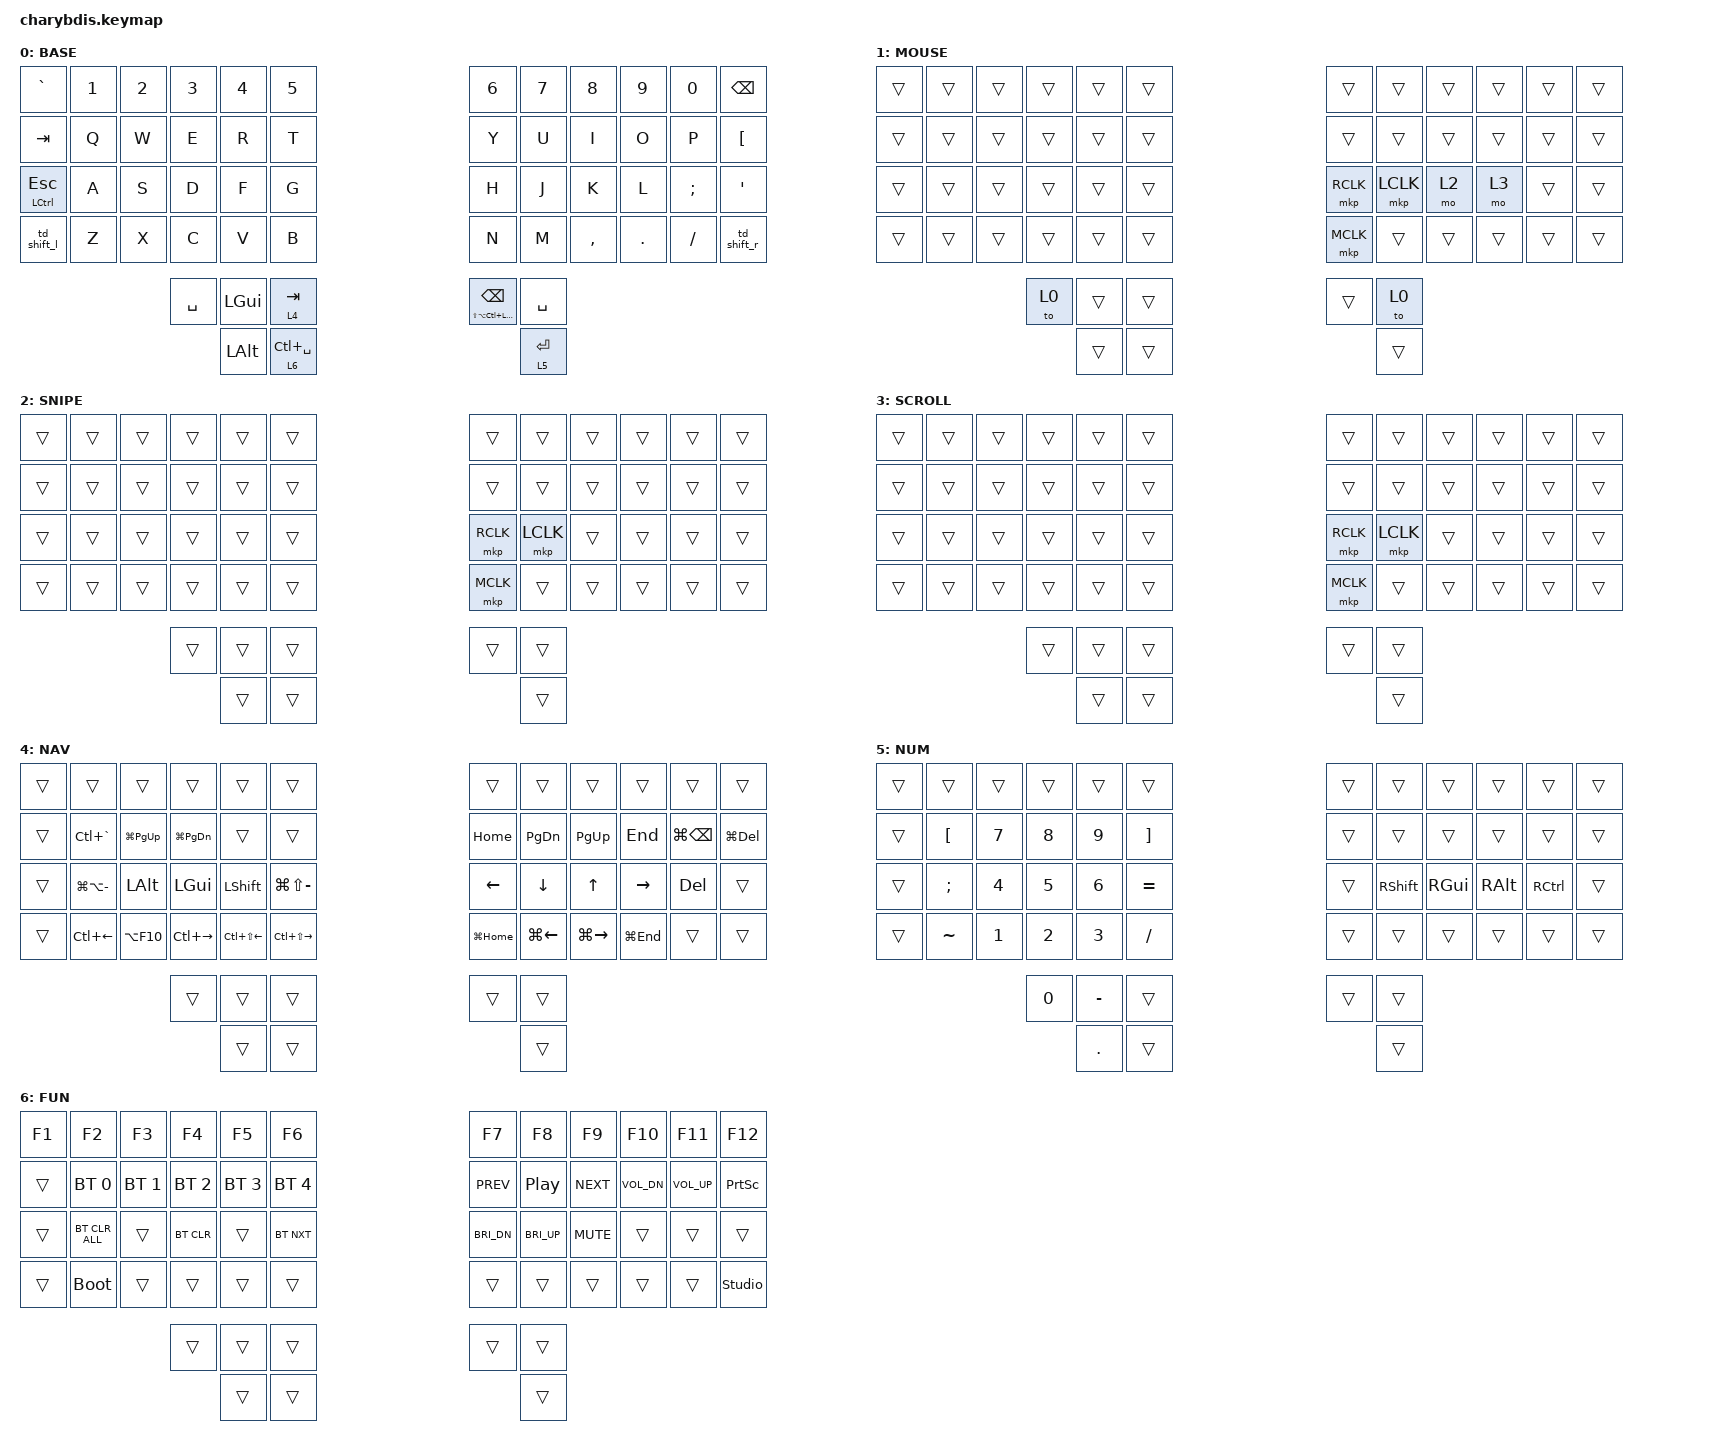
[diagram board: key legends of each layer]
#include <behaviors.dtsi>
#include <dt-bindings/zmk/bt.h>
#include <dt-bindings/zmk/keys.h>
#include <dt-bindings/zmk/pointing.h>

// В этом файле НЕТ #define и других макросов препроцессора — намеренно.
// Keymap editor (nickcoutsos.github.io/keymap-editor) их не разбирает и перестаёт
// показывать раскладку. Поэтому номера слоёв и сочетания записаны буквально:
//
//   слои: 0 BASE, 1 MOUSE, 2 SNIPE, 3 SCROLL, 4 NAV, 5 NUM, 6 FUN
//         (номер = порядок узлов в keymap {}; check_keymap.py сверяет держатели
//          слоёв и номера в overlay'ях по display-name)
//
//   LC(SPACE) на 54 — переключение языка. macOS видит Ctrl+Space (предыдущий
//         источник ввода), Ubuntu из-за обмена Ctrl/Win — Super+Space (смена раскладки).
//
//   LS(LA(LC(LGUI))) на 51 — Hyper = Ctrl+Alt+Shift+Super разом, под запуск
//         приложений (Ubuntu: расширение Run or raise; macOS: BetterTouchTool).
//         Базовый keycode — модификатор (LGUI), поэтому ZMK держит все четыре как
//         явные модификаторы, пока нажата следующая клавиша.
//
//   LG(…) / LC(…) в слоях для Ubuntu. Клавиатура в основном на Ubuntu (обычный KVM),
//         там включён ctrl:swap_lwin_lctl (GNOME Tweaks, dconf
//         /org/gnome/desktop/input-sources/xkb-options): клавиатурный LGUI приходит
//         как Ctrl, LCTRL — как Super. Поэтому LG(x) = Ctrl+x на Ubuntu,
//         LC(x) = Super+x. Cmd на большом пальце (49) там работает как Ctrl.

&mt {
    // &mt используется только на 24: Ctrl на удержании, Esc на тап.
    // balanced: хол, если другая клавиша нажата И отпущена за время удержания —
    // Ctrl+C перекатом срабатывает, а быстрый Esc -> буква остаётся Esc.
    // Если Ctrl+C будет давать "Esc c" — flavor = "hold-preferred" (план, тюнинг).
    flavor = "balanced";
    tapping-term-ms = <200>;
    quick-tap-ms = <175>;   // тап + повтор в это окно = автоповтор тапа
};

&lt {
    // Только большие пальцы: 50 NAV/Tab, 54 FUN/Lang, 55 NUM/Enter.
    // balanced: хол, если другая клавиша нажата И отпущена за время удержания.
    // require-prior-idle-ms НЕ задавать: иначе слой сразу после буквы дал бы
    // тап (Tab/Enter) вместо слоя (раньше стояло 40 — для layer-tap на буквах).
    flavor = "balanced";
    tapping-term-ms = <200>;
    quick-tap-ms = <175>;   // тап + повтор в это окно = автоповтор Tab/Enter
};

// Caps Word включается двойным тапом любого Shift (td_shift_l / td_shift_r).
// Буквы и цифры ZMK всегда считает продолжением. continue-list ЗАМЕНЯЕТ
// дефолтный список (UNDERSCORE BSPC DEL), поэтому он перечислен заново,
// плюс MINUS — дефис не сбрасывает Caps Word (MY-CONST). Цифры перечислены
// явно, хотя и так продолжают. Пробел, точка, Enter — выключают.
&caps_word {
    continue-list = <UNDERSCORE MINUS BSPC DEL N1 N2 N3 N4 N5 N6 N7 N8 N9 N0>;
};

/ {
    behaviors {
        // Shift на мизинцах: удержание / вместе с клавишей — Shift,
        // двойной тап — Caps Word. С другой клавишей Shift срабатывает сразу
        // (tap-dance разрешается по прерыванию); одиночный удержанный Shift
        // без других клавиш доходит до ОС через tapping-term (200 мс).
        td_shift_l: td_shift_l {
            compatible = "zmk,behavior-tap-dance";
            #binding-cells = <0>;
            tapping-term-ms = <200>;
            bindings = <&kp LSHFT>, <&caps_word>;
        };

        td_shift_r: td_shift_r {
            compatible = "zmk,behavior-tap-dance";
            #binding-cells = <0>;
            tapping-term-ms = <200>;
            bindings = <&kp RSHFT>, <&caps_word>;
        };

        // 51: тап — Backspace, удержание — Hyper (запуск приложений: Hyper+T и т.п.).
        // Отдельный hold-tap, а не &mt: require-prior-idle-ms = 150 — Backspace,
        // нажатый сразу после буквы, срабатывает мгновенно как Backspace (и при
        // удержании повторяется), так что перекат при наборе не превратится в
        // Hyper+буква и не запустит приложение. Hyper нужен «с паузы» — и так всегда.
        hyper_bspc: hyper_bspc {
            compatible = "zmk,behavior-hold-tap";
            #binding-cells = <2>;
            flavor = "balanced";
            tapping-term-ms = <200>;
            quick-tap-ms = <175>;
            require-prior-idle-ms = <150>;
            bindings = <&kp>, <&kp>;
        };
    };

    combos {
        compatible = "zmk,combos";

        // Все комбо работают только на BASE (layers = <0>).
        //
        // Скобки — одновременное нажатие соседних клавиш.
        //
        // require-prior-idle-ms: комбо не срабатывает, если меньше 100 мс назад
        // была нажата другая (не-модификатор) клавиша. Защита от ложных
        // срабатываний при наборе: I+O — это английское "-tion", O+P — "op".
        // Нужно «сделать паузу» перед комбо; Shift перед ним не мешает.
        // timeout-ms 40 вместо 50: нажатия с разносом 40–50 мс теперь
        // считаются перекатом двух букв, а не комбо.

        combo_rbrace {
            timeout-ms = <40>;
            require-prior-idle-ms = <100>;
            key-positions = <21 22>;  // O + P
            layers = <0>;
            bindings = <&kp RBKT>;    // ]
        };

        combo_equal {
            timeout-ms = <40>;
            require-prior-idle-ms = <100>;
            key-positions = <20 21>;  // I + O
            layers = <0>;
            bindings = <&kp EQUAL>;    // =
        };

        combo_minus {
            timeout-ms = <40>;
            require-prior-idle-ms = <100>;
            key-positions = <19 20>;  // U + I
            layers = <0>;
            bindings = <&kp MINUS>;    // -
        };

        // Обратный слэш — [ + ' одновременно (правый мизинец, вертикально).
        // В раскладке macOS «Русская» эта клавиша даёт «ё», в «Русская — ПК» — \.
        // На базовом слое отдельной клавиши \ нет.
        combo_bslh {
            timeout-ms = <40>;
            require-prior-idle-ms = <100>;
            key-positions = <23 35>;  // [ + '
            layers = <0>;
            bindings = <&kp BSLH>;    // \  (ё в «Русской»)
        };

        combo_studio_unlock {
            timeout-ms = <50>;
            key-positions = <0 11>;  // Grave + Backspace одновременно
            layers = <0>;
            bindings = <&studio_unlock>;
        };
    };

    keymap {
        compatible = "zmk,keymap";

        // 0 BASE — QWERTY, буквы чистые: никаких &lt/&mt на позициях 13–22, 25–34, 37–46
        // (check_keymap.py это проверяет). Слои — только на больших пальцах:
        // 50 NAV/Tab, 54 FUN/Lang, 55 NUM/Enter; 51 — Backspace / Hyper.

        base_layer {
            display-name = "BASE";
            bindings = <
&kp GRAVE      &kp N1  &kp N2  &kp N3     &kp N4    &kp N5              &kp N6                  &kp N7     &kp N8     &kp N9   &kp N0    &kp BSPC
&kp TAB        &kp Q   &kp W   &kp E      &kp R     &kp T               &kp Y                   &kp U      &kp I      &kp O    &kp P     &kp LBKT
&mt LCTRL ESC  &kp A   &kp S   &kp D      &kp F     &kp G               &kp H                   &kp J      &kp K      &kp L    &kp SEMI  &kp SQT
&td_shift_l    &kp Z   &kp X   &kp C      &kp V     &kp B               &kp N                   &kp M      &kp COMMA  &kp DOT  &kp FSLH  &td_shift_r
                               &kp SPACE  &kp LGUI  &lt 4 TAB         &hyper_bspc LS(LA(LC(LGUI))) BSPC  &kp SPACE
                                          &kp LALT  &lt 6 LC(SPACE)    &lt 5 RET
            >;
        };

        // 1 MOUSE — авто-слой, поднимается движением шара (&zip_temp_layer в overlay'ях).
        // Таймера нет: гаснет только от Space или клавиши не из excluded-positions.
        // H = ПКМ, J = ЛКМ, N = средняя; удержание K = SNIPE, удержание L = SCROLL.
        // Space (оба) = &to 0: сразу вернуться к буквам, пробел при этом не печатается.
        // Shift (оба) тоже гасит слой — его нет в excluded-positions — и работает как Shift.
        // ИНВАРИАНТ: индекс ниже SNIPE/SCROLL/NAV — драйвер смотрит только на верхний слой.
        // K/L обязаны быть в excluded-positions, иначе слой погаснет раньше &mo.

        mouse_layer {
            display-name = "MOUSE";
            bindings = <
&trans  &trans  &trans  &trans  &trans  &trans    &trans     &trans     &trans     &trans      &trans  &trans
&trans  &trans  &trans  &trans  &trans  &trans    &trans     &trans     &trans     &trans      &trans  &trans
&trans  &trans  &trans  &trans  &trans  &trans    &mkp RCLK  &mkp LCLK  &mo 2  &mo 3  &trans  &trans
&trans  &trans  &trans  &trans  &trans  &trans    &mkp MCLK  &trans     &trans     &trans      &trans  &trans
                        &to 0   &trans  &trans    &trans     &to 0
                                &trans  &trans    &trans
            >;
        };

        // 2 SNIPE — медленный курсор (snipe-layers драйвера + scaler в overlay).
        // Клики продублированы на случай возврата таймера слоя мыши: пока активен snipe,
        // таймер не продлевается, и после его срабатывания H/J/N без этого были бы буквами.

        snipe_layer {
            display-name = "SNIPE";
            bindings = <
&trans  &trans  &trans  &trans  &trans  &trans    &trans     &trans     &trans  &trans  &trans  &trans
&trans  &trans  &trans  &trans  &trans  &trans    &trans     &trans     &trans  &trans  &trans  &trans
&trans  &trans  &trans  &trans  &trans  &trans    &mkp RCLK  &mkp LCLK  &trans  &trans  &trans  &trans
&trans  &trans  &trans  &trans  &trans  &trans    &mkp MCLK  &trans     &trans  &trans  &trans  &trans
                        &trans  &trans  &trans    &trans     &trans
                                &trans  &trans    &trans
            >;
        };

        // 3 SCROLL — шар крутит колесо. Клики продублированы по той же причине, что в SNIPE.

        scroll_layer {
            display-name = "SCROLL";
            bindings = <
&trans  &trans  &trans  &trans  &trans  &trans    &trans     &trans     &trans  &trans  &trans  &trans
&trans  &trans  &trans  &trans  &trans  &trans    &trans     &trans     &trans  &trans  &trans  &trans
&trans  &trans  &trans  &trans  &trans  &trans    &mkp RCLK  &mkp LCLK  &trans  &trans  &trans  &trans
&trans  &trans  &trans  &trans  &trans  &trans    &mkp MCLK  &trans     &trans  &trans  &trans  &trans
                        &trans  &trans  &trans    &trans     &trans
                                &trans  &trans    &trans
            >;
        };

        // 4 NAV (удержание 50), сочетания под Ubuntu: LG(x) = Ctrl+x, LC(x) = Super+x (см. вверху).
        // Правая рука: стрелки на HJKL, Home/PgDn/PgUp/End над ними; ниже — начало файла,
        // слово ←, слово →, конец файла; P/[ — удалить слово влево/вправо; ; — Del.
        // Левая рука: Q — следующее окно той же программы (Super+`), W/E — вкладка
        // назад/вперёд (Ctrl+PgUp/PgDn), A/G — VS Code назад/вперёд по коду,
        // S/D/F — Alt/Ctrl/Shift (шар + F выделяет, шар + D прыгает по словам),
        // Z/X/C — окно влево / развернуть-восстановить / вправо, V/B — на левый/правый монитор.
        // Шар в этом слое двигает текстовый курсор (caret-layers).

        nav_layer {
            display-name = "NAV";
            bindings = <
&trans  &trans                 &trans             &trans              &trans                 &trans                    &trans            &trans            &trans             &trans           &trans            &trans
&trans  &kp LC(GRAVE)     &kp LG(PG_UP)  &kp LG(PG_DN)   &trans                 &trans                    &kp HOME          &kp PG_DN         &kp PG_UP          &kp END          &kp LG(BSPC)  &kp LG(DEL)
&trans  &kp LG(LA(MINUS))  &kp LALT           &kp LGUI            &kp LSHFT              &kp LG(LS(MINUS))     &kp LEFT          &kp DOWN          &kp UP             &kp RIGHT        &kp DEL           &trans
&trans  &kp LC(LEFT)      &kp LA(F10)        &kp LC(RIGHT)  &kp LC(LS(LEFT))  &kp LC(LS(RIGHT))    &kp LG(HOME)  &kp LG(LEFT)  &kp LG(RIGHT)  &kp LG(END)  &trans            &trans
                                                  &trans              &trans                 &trans                    &trans            &trans
                                                                      &trans                 &trans                    &trans
            >;
        };

        // 5 NUM (удержание 55) — бывший layer_8 без изменений: numpad слева, моды справа.

        num_layer {
            display-name = "NUM";
            bindings = <
&trans  &trans            &trans        &trans        &trans        &trans               &trans  &trans           &trans         &trans         &trans             &trans
&trans  &kp LEFT_BRACKET  &kp N7        &kp N8        &kp N9        &kp RIGHT_BRACKET    &trans  &trans           &trans         &trans         &trans             &trans
&trans  &kp SEMICOLON     &kp NUMBER_4  &kp N5        &kp NUMBER_6  &kp EQUAL            &trans  &kp RIGHT_SHIFT  &kp RIGHT_GUI  &kp RIGHT_ALT  &kp RIGHT_CONTROL  &trans
&trans  &kp TILDE         &kp NUMBER_1  &kp NUMBER_2  &kp NUMBER_3  &kp SLASH            &trans  &trans           &trans         &trans         &trans             &trans
                                        &kp N0        &kp MINUS     &trans               &trans  &trans
                                                      &kp DOT       &trans               &trans
            >;
        };

        // 6 FUN (удержание 54) — F1–F12, Bluetooth, медиа, яркость, Print Screen на [,
        // bootloader (Z — левая половина), studio_unlock.

        fun_layer {
            display-name = "FUN";
            bindings = <
&kp F1  &kp F2          &kp F3        &kp F4        &kp F5        &kp F6          &kp F7        &kp F8        &kp F9      &kp F10       &kp F11       &kp F12
&trans  &bt BT_SEL 0    &bt BT_SEL 1  &bt BT_SEL 2  &bt BT_SEL 3  &bt BT_SEL 4    &kp C_PREV    &kp C_PP      &kp C_NEXT  &kp C_VOL_DN  &kp C_VOL_UP  &kp PSCRN
&trans  &bt BT_CLR_ALL  &trans        &bt BT_CLR    &trans        &bt BT_NXT      &kp C_BRI_DN  &kp C_BRI_UP  &kp K_MUTE  &trans        &trans        &trans
&trans  &bootloader     &trans        &trans        &trans        &trans          &trans        &trans        &trans      &trans        &trans        &studio_unlock
                                      &trans        &trans        &trans          &trans        &trans
                                                    &trans        &trans          &trans
            >;
        };
    };
};
